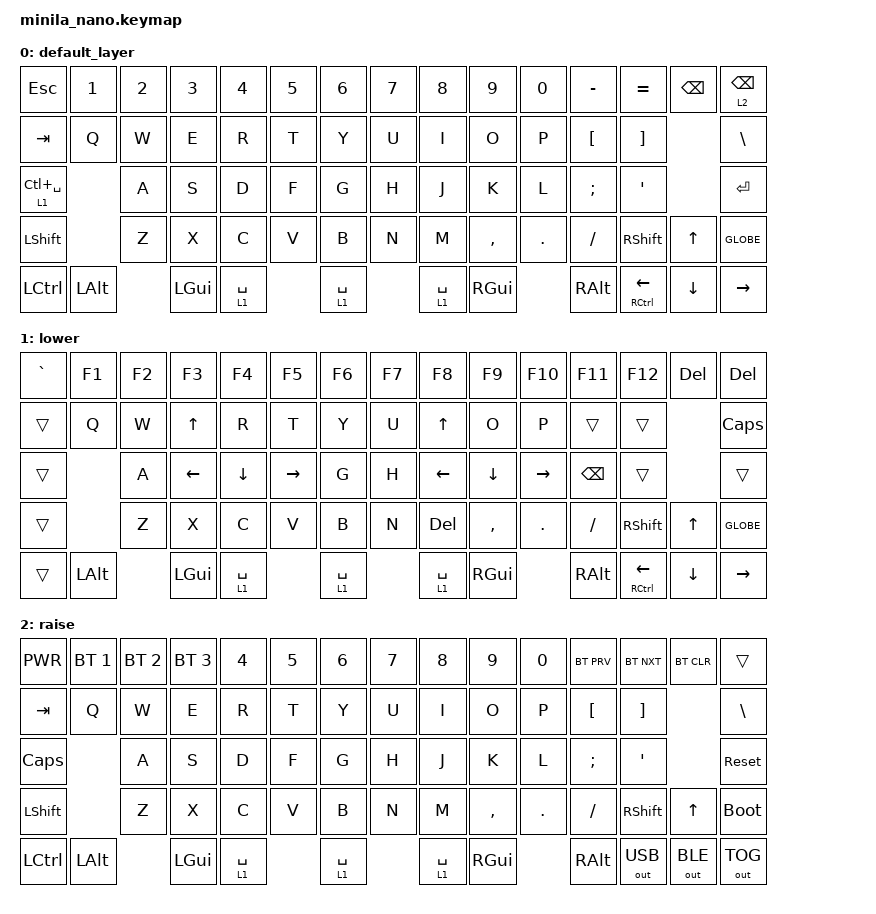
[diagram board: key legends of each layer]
/*
 * Copyright (c) 2020 The ZMK Contributors
 *
 * SPDX-License-Identifier: MIT
 */

#include <behaviors.dtsi>
#include <dt-bindings/zmk/bt.h>
#include <dt-bindings/zmk/keys.h>
#include <dt-bindings/zmk/outputs.h>

/ {
    keymap {
        compatible = "zmk,keymap";

        default_layer {
            // ------------------------------------------------------------------------------------------
            // | ESC |  1  |  2  |  3  |  4  |  5  |  6  |  7  |  8  |  9  |  0  |  -  |  =  | BKSP | LT(2,BKSP) |
            // | TAB  |  Q  |  W  |  E  |  R  |  T  |  Y  |  U  |  I  |  O  |  P  |  [  |  ]  |    \    |
            // | CAPS  |  A  |  S  |  D  |  F  |  G  |  H  |  J  |  K  |  L  |  ;  |  '  |     ENTER    |
            // |  SHIFT |  Z  |  X  |  C  |  V  |  B  |  N  |  M  |  ,  |  .  |  /  |    SHIFT     |  UP  | GLOBE |
            // |  CTL  | ALT | WIN |LT(1,SPACE)| LT(1,SPACE) |LT(1,SPACE)| WIN | OPT |MT(CTRL,LEFT)| DOWN | RIGHT|
            // ------------------------------------------------------------------------------------------

            bindings = <
&kp ESC          &kp N1    &kp N2  &kp N3    &kp N4       &kp N5  &kp N6       &kp N7  &kp N8       &kp N9     &kp N0   &kp MINUS  &kp EQUAL       &kp BSPC  &lt 2 BSPC
&kp TAB          &kp Q     &kp W   &kp E     &kp R        &kp T   &kp Y        &kp U   &kp I        &kp O      &kp P    &kp LBKT   &kp RBKT                  &kp BSLH
&lt 1 LC(SPACE)            &kp A   &kp S     &kp D        &kp F   &kp G        &kp H   &kp J        &kp K      &kp L    &kp SEMI   &kp SQT                   &kp RET
&kp LSHFT                  &kp Z   &kp X     &kp C        &kp V   &kp B        &kp N   &kp M        &kp COMMA  &kp DOT  &kp FSLH   &kp RSHFT       &kp UP    &kp GLOBE
&kp LCTRL        &kp LALT          &kp LGUI  &lt 1 SPACE          &lt 1 SPACE          &lt 1 SPACE  &kp RGUI            &kp RALT   &mt RCTRL LEFT  &kp DOWN  &kp RIGHT
            >;
        };

        lower {
            // ------------------------------------------------------------------------------------------
            // | GRAVE |  F1 |  F2  |  F3  |  F4   |  F5 |  F6 |  F7 |  F8   |  F9   | F10  | F11 | F12 | BKSP | DEL |
            // |   TAB  |  Q  |   W  |  UP  |   R   |  T  |  Y  |   U  |  UP  |   O   |  P   |  [  |  ]  |    \    |
            // | CAPS    |  A  | LEFT | DOWN | RIGHT |  G  |  H  | LEFT | DOWN | RIGHT | BKSP |  '  |     ENTER    |
            // |  SHIFT |  Z  |  X  |  C  |  V  |  B  |  N  |  DEL  |  ,  |  .  |  /  |    SHIFT     |  UP  | GLOBE |
            // |  CTL  | ALT | WIN |LT(1,SPACE)| LT(1,SPACE) |LT(1,SPACE)| WIN | OPT |MT(CTRL,LEFT)| DOWN | RIGHT|
            // ------------------------------------------------------------------------------------------

            bindings = <
&kp GRAVE  &kp F1    &kp F2  &kp F3    &kp F4       &kp F5     &kp F6       &kp F7  &kp F8       &kp F9     &kp F10    &kp F11   &kp F12         &kp DEL   &kp DEL
&trans     &kp Q     &kp W   &kp UP    &kp R        &kp T      &kp Y        &kp U   &kp UP       &kp O      &kp P      &trans    &trans                    &kp CAPS
&trans               &kp A   &kp LEFT  &kp DOWN     &kp RIGHT  &kp G        &kp H   &kp LEFT     &kp DOWN   &kp RIGHT  &kp BSPC  &trans                    &trans
&trans               &kp Z   &kp X     &kp C        &kp V      &kp B        &kp N   &kp DEL      &kp COMMA  &kp DOT    &kp FSLH  &kp RSHFT       &kp UP    &kp GLOBE
&trans     &kp LALT          &kp LGUI  &lt 1 SPACE             &lt 1 SPACE          &lt 1 SPACE  &kp RGUI              &kp RALT  &mt RCTRL LEFT  &kp DOWN  &kp RIGHT
            >;
        };

        raise {
            // ------------------------------------------------------------------------------------------
            // | C_PWR | BT_SEL 1 | BT_SEL 2 | BT_SEL 3 |  4  |  5  |  6  |  7  |  8  |  9  |  0  | BT_PRV | BT_NXT | BT_CLR | LT(2,BKSP) |
            // | TAB    |     Q    |    W     |    E     |  R  |  T  |  Y  |  U  |  I  |  O  |  P  |   [    |   ]    |    \    |
            // | CAPS    |     A    |    S     |    D     |  F  |  G  |  H  |  J  |  K  |  L  |  ;  |  '     |     SYS_RESET   |
            // |  SHIFT   |     Z    |    X     |    C     |  V  |  B  |  N  |  M  |  ,  |  .  |  /  | SHIFT |  UP  | BOOTLOADER |
            // |  CTL    | ALT | WIN | LT(1,SPACE) |  LT(1,SPACE)  |  LT(1,SPACE)  |  WIN  | OPT |  OUT_USB  | OUT_BLE | OUT_TOG |
            // ------------------------------------------------------------------------------------------

            bindings = <
&kp C_PWR  &bt BT_SEL 1  &bt BT_SEL 2  &bt BT_SEL 3  &kp N4       &kp N5  &kp N6       &kp N7  &kp N8       &kp N9     &kp N0   &bt BT_PRV  &bt BT_NXT    &bt BT_CLR    &trans
&kp TAB    &kp Q         &kp W         &kp E         &kp R        &kp T   &kp Y        &kp U   &kp I        &kp O      &kp P    &kp LBKT    &kp RBKT                    &kp BSLH
&kp CAPS                 &kp A         &kp S         &kp D        &kp F   &kp G        &kp H   &kp J        &kp K      &kp L    &kp SEMI    &kp SQT                     &sys_reset
&kp LSHFT                &kp Z         &kp X         &kp C        &kp V   &kp B        &kp N   &kp M        &kp COMMA  &kp DOT  &kp FSLH    &kp RSHFT     &kp UP        &bootloader
&kp LCTRL  &kp LALT                    &kp LGUI      &lt 1 SPACE          &lt 1 SPACE          &lt 1 SPACE  &kp RGUI            &kp RALT    &out OUT_USB  &out OUT_BLE  &out OUT_TOG
            >;
        };
    };
};
